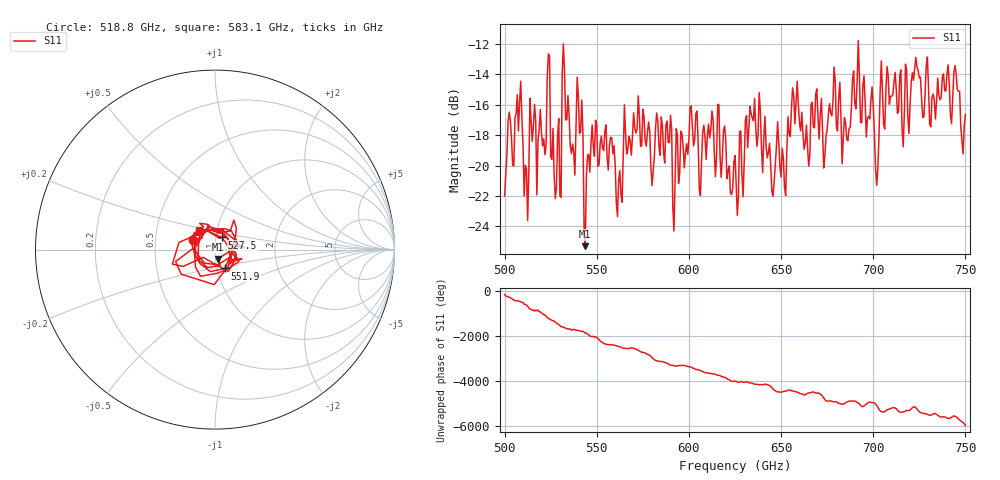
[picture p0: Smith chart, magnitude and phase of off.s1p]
!Created with skrf (http://scikit-rf.org).
# GHz S MA R 50.0
!freq magS11 angS11
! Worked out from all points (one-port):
!   401 points, 500 GHz to 750 GHz, reference 50 ohm
!   lowest |S11| = -25.3 dB at 543.8 GHz (marker M1), VSWR 1.11, Z = 51.2 - j5.38 ohm
!   |S11| at or under -10 dB: start of sweep to end of sweep
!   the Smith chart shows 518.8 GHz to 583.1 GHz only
!   S11 on the Smith chart (normalised r, x): 518.8 GHz: 0.78, +0.08; 527.5 GHz: 1.07, +0.15; 551.9 GHz: 1.09, -0.23; 583.1 GHz: 0.82, +0.18
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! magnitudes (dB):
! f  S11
! 500 GHz  -22.0
! 507.5 GHz  -17.7
! 511.9 GHz  -20.2
! 515 GHz  -18.4
! 518.8 GHz  -17.6
! 523.8 GHz  -12.7
! 527.5 GHz  -22.2
! 531.2 GHz  -14.0
! 536.9 GHz  -18.6
! 540.6 GHz  -17.9
! 543.8 GHz  -25.3
! 551.9 GHz  -18.5
! 562.5 GHz  -20.3
! 571.2 GHz  -17.9
! 583.1 GHz  -17.1
! 593.8 GHz  -18.0
! 611.9 GHz  -17.6
! 625 GHz  -19.3
! 634.4 GHz  -16.9
! 651.2 GHz  -19.5
! 656.2 GHz  -14.9
! 687.5 GHz  -17.5
! 691.2 GHz  -14.5
! 701.9 GHz  -21.3
! 708.1 GHz  -14.1
! 718.8 GHz  -16.7
! 745 GHz  -14.0
! 750 GHz  -16.6
